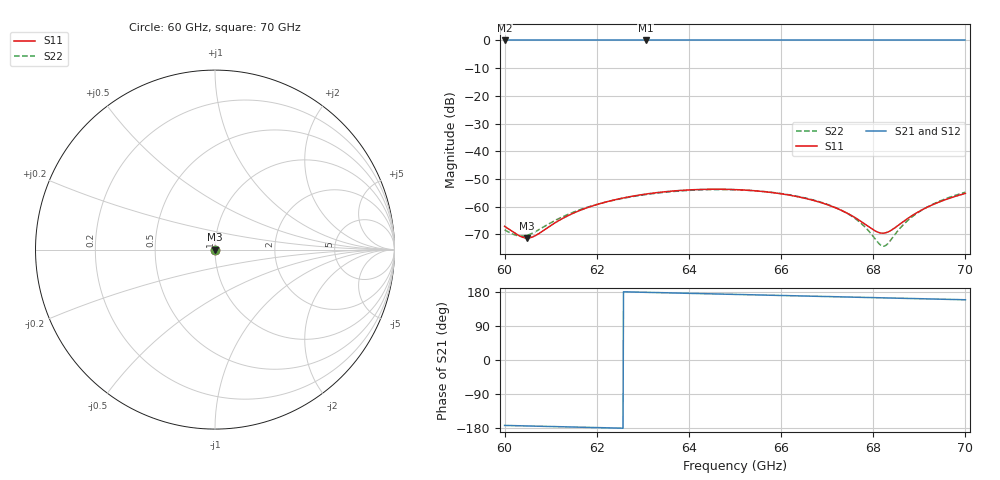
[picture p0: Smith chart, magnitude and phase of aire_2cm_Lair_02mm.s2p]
! TOUCHSTONE file generated by CST MICROWAVE STUDIO
! Date and time: Sun Mar  3 12:20:14 2024
! Project name: aire_def.cst
! Parameters = {d=8.8}
! Header version: 2018
! Port assignment regex: !\s*Touchstone port\s*([0-9]+)\s*=\s*(CST MWS port|CST DS port)\s*([0-9]+|Zmin|Zmax)\s*\(\"(.*)\"\)(\s*mode\s*([0-9]+))?.*
! Touchstone port assignment:
! Touchstone port 1 = CST MWS port 1 ("")
! Touchstone port 2 = CST MWS port 2 ("")
# GHz S MA R 376.7
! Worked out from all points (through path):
!   1001 points, 60 GHz to 70 GHz, reference 376.7 ohm
!   highest |S21| = 0.00 dB at 63.06 GHz (marker M1); lowest = 0.0 dB at 60 GHz (marker M2)
!   group delay of S21, straight-line fit = 7.89 ps
!   lowest |S11| = -71.3 dB at 60.49 GHz (marker M3), VSWR 1.00, Z = 376 - j0.0405 ohm
!   |S11| at or under -10 dB: start of sweep to end of sweep
!   |S22| runs from -74.2 to -53.8 dB; largest |S21 - S12| = 0.00093
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60  0.0004431 -115.4  0.9995 -172.6  1 -172.6  0.0003827 -34.8
60.28  0.0003116 -139.2  0.9996 -173.4  1 -173.4  0.0003007 -7.0
60.49  0.0002729 -168.6  0.9996 -174.0  1 -174.0  0.0003055 19.1
60.67  0.0003019 165.5  0.9997 -174.6  1 -174.5  0.0003563 37.7
61.22  0.0005903 126.6  0.9998 -176.1  1 -176.1  0.0006369 64.8
61.67  0.0008818 115.5  0.9999 -177.4  1 -177.4  0.0009049 72.2
62.31  0.001287 107.3  1 -179.2  1 -179.2  0.001279 76.1
63.06  0.001691 101.2  1 178.6  1 178.6  0.001659 76.9
63.34  0.001812 99.4  1 177.8  1 177.8  0.001775 76.7
65  0.002039 91.6  1 173.1  1 173.1  0.002026 72.5
65.9  0.001761 90.0  1 170.6  1 170.5  0.001775 68.9
66.67  0.001323 91.7  1 168.4  1 168.3  0.001345 64.9
67.15  0.000981 96.1  1 167.0  1 167.0  0.0009917 60.8
67.54  0.0006856 104.8  1 165.9  1 165.9  0.0006705 54.6
67.81  0.0004919 118.1  1 165.2  0.9999 165.1  0.0004408 44.9
68.17  0.0003351 159.7  1 164.1  0.9997 164.1  0.0002009 -4.7
68.25  0.0003363 172.4  1 163.9  0.9997 163.9  0.0001964 -27.6
68.34  0.000357 -174.0  1 163.7  0.9997 163.6  0.0002272 -50.6
68.66  0.0005452 -142.6  1 162.7  0.9997 162.7  0.0004818 -85.9
68.99  0.0008191 -128.8  1 161.8  0.9997 161.8  0.000804 -95.8
69.44  0.001226 -120.3  1 160.5  0.9998 160.5  0.001261 -101.0
70  0.00174 -115.1  1 158.9  0.9999 158.9  0.001831 -103.6
